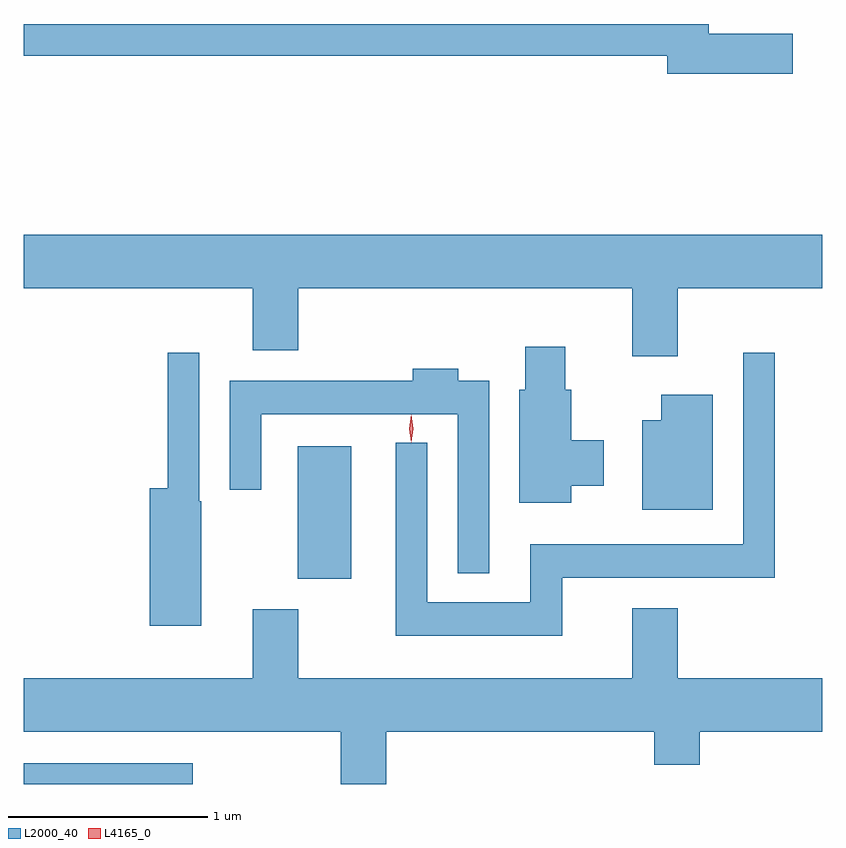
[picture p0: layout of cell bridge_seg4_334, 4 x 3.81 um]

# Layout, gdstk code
import gdstk
lib = gdstk.Library(unit=1e-6, precision=1e-09)
def R(c, l, rs):  # rectangles x0, y0, x1, y1
    for r in rs: c.add(gdstk.rectangle(r[:2], r[2:], *l))
def P(c, l, *ps):  # polygons
    for p in ps: c.add(gdstk.Polygon(p, *l))
L2000_40 = (2000, 40)
L4165_0 = (4165, 0)

bridge_seg4_334 = lib.new_cell('bridge_seg4_334')
R(bridge_seg4_334, L2000_40, [(721.903,1305.574,722.749,1305.679), (723.276,1306.601,723.544,1307.264)])
P(bridge_seg4_334, L2000_40, [(725.754,1309.329),(725.334,1309.329),(725.334,1309.379),(721.903,1309.379),(721.903,1309.221),(725.126,1309.221),(725.126,1309.131),(725.754,1309.131)],
  [(725.179,1308.056),(725.903,1308.056),(725.903,1308.324),(721.903,1308.324),(721.903,1308.056),(723.051,1308.056),(723.051,1307.746),(723.279,1307.746),(723.279,1308.056),(724.951,1308.056),(724.951,1307.716),(725.179,1307.716)],
  [(724.644,1307.066),(724.809,1307.066),(724.809,1307.294),(724.644,1307.294),(724.644,1307.549),(724.614,1307.549),(724.614,1307.764),(724.416,1307.764),(724.416,1307.549),(724.386,1307.549),(724.386,1306.981),(724.644,1306.981)],
  [(724.599,1306.606),(725.664,1306.606),(725.664,1307.733),(725.506,1307.733),(725.506,1306.774),(724.441,1306.774),(724.441,1306.484),(723.924,1306.484),(723.924,1307.283),(723.766,1307.283),(723.766,1306.316),(724.599,1306.316)],
  [(722.794,1306.99),(722.784,1306.99),(722.784,1307.733),(722.626,1307.733),(722.626,1307.054),(722.536,1307.054),(722.536,1306.366),(722.794,1306.366)],
  [(724.234,1307.594),(724.079,1307.594),(724.079,1307.654),(723.851,1307.654),(723.851,1307.594),(722.936,1307.594),(722.936,1307.048),(723.094,1307.048),(723.094,1307.426),(724.076,1307.426),(724.076,1306.628),(724.234,1306.628)],
  [(725.354,1307.524),(725.096,1307.524),(725.096,1307.394),(725.001,1307.394),(725.001,1306.946),(725.354,1306.946)],
  [(723.719,1305.836),(725.061,1305.836),(725.061,1305.671),(725.289,1305.671),(725.289,1305.836),(725.903,1305.836),(725.903,1306.104),(725.179,1306.104),(725.179,1306.454),(724.951,1306.454),(724.951,1306.104),(723.279,1306.104),(723.279,1306.449),(723.051,1306.449),(723.051,1306.104),(721.903,1306.104),(721.903,1305.836),(723.491,1305.836),(723.491,1305.574),(723.719,1305.574)])
P(bridge_seg4_334, L4165_0, [(723.844,1307.283),(723.843,1307.284),(723.834,1307.353),(723.843,1307.422),(723.844,1307.423),(723.844,1307.422),(723.854,1307.353),(723.844,1307.284)])

lib.write_gds('bridge_seg4_334.gds')
